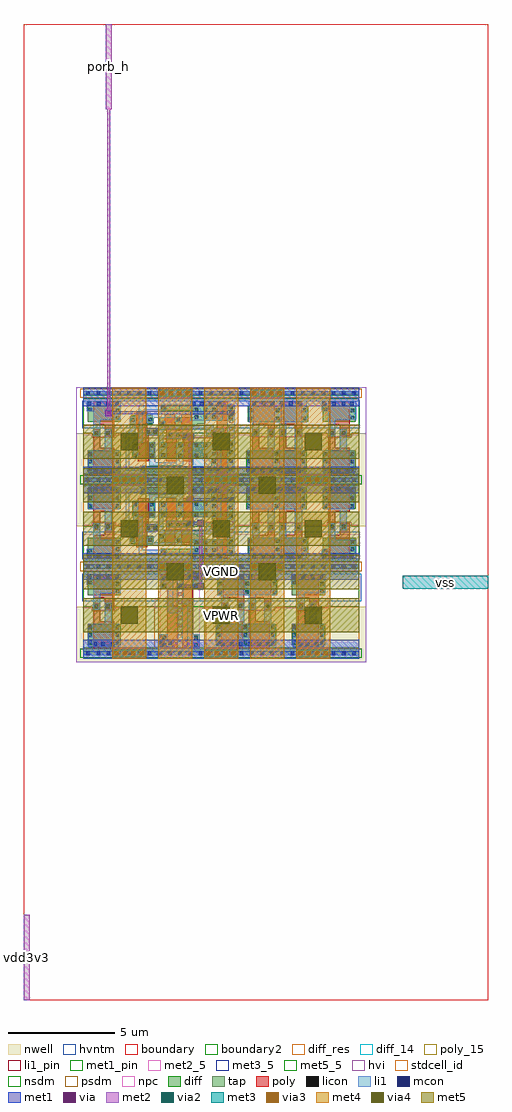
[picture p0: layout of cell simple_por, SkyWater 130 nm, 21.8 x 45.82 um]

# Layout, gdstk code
import gdstk
lib = gdstk.Library(unit=1e-6, precision=1e-09)
def R(c, l, rs):  # rectangles x0, y0, x1, y1
    for r in rs: c.add(gdstk.rectangle(r[:2], r[2:], *l))
def A(c, l, x, y, w, h, nx, ny, dx, dy):  # array of equal rectangles
    R(c, l, [(x+i*dx, y+j*dy, x+i*dx+w, y+j*dy+h) for i in range(nx) for j in range(ny)])
def P(c, l, *ps):  # polygons
    for p in ps: c.add(gdstk.Polygon(p, *l))
nwell = (64, 20)
diff_res = (65, 13)
diff_14 = (65, 14)
diff = (65, 20)
tap = (65, 44)
poly_15 = (66, 15)
poly = (66, 20)
licon = (66, 44)
li1_pin = (67, 16)
li1 = (67, 20)
mcon = (67, 44)
met1_pin = (68, 16)
met1 = (68, 20)
via = (68, 44)
met2_5 = (69, 5)
met2 = (69, 20)
via2 = (69, 44)
met3_5 = (70, 5)
met3 = (70, 20)
via3 = (70, 44)
met4 = (71, 20)
via4 = (71, 44)
met5_5 = (72, 5)
met5 = (72, 20)
hvi = (75, 20)
stdcell_id = (81, 4)
nsdm = (93, 44)
psdm = (94, 20)
npc = (95, 20)
hvntm = (125, 20)
boundary = (235, 4)
boundary2 = (236, 0)

sky130_fd_sc_hvl__decap_ = lib.new_cell('sky130_fd_sc_hvl__decap_4')
R(sky130_fd_sc_hvl__decap_, nwell, [(-0.33,1.885,2.25,4.485)])
R(sky130_fd_sc_hvl__decap_, diff, [(0.21,0.595,1.76,1.345), (0.21,2.705,1.76,3.705)])
R(sky130_fd_sc_hvl__decap_, tap, [(0,-0.085,1.92,0.085), (0,3.985,1.92,4.155)])
P(sky130_fd_sc_hvl__decap_, poly, [(1.475,3.835),(0.475,3.835),(0.475,1.7),(0.805,1.7),(0.805,2.575),(1.475,2.575)],
  [(1.475,2.03),(1.015,2.03),(1.015,1.475),(0.475,1.475),(0.475,0.405),(1.475,0.405)])
A(sky130_fd_sc_hvl__decap_, licon, 0.155, -0.085, 0.17, 0.17, 4, 2, 0.48, 4.07)
A(sky130_fd_sc_hvl__decap_, licon, 0.25, 2.765, 0.17, 0.17, 1, 3, 0, 0.355)
A(sky130_fd_sc_hvl__decap_, licon, 1.53, 2.765, 0.17, 0.17, 1, 3, 0, 0.355)
R(sky130_fd_sc_hvl__decap_, licon, [(0.25,0.675,0.42,0.845), (1.53,0.725,1.7,0.895), (1.53,1.08,1.7,1.25), (0.555,1.78,0.725,1.95), (1.095,1.78,1.265,1.95)])
R(sky130_fd_sc_hvl__decap_, li1, [(0,-0.085,1.92,0.085), (0,3.985,1.92,4.155)])
P(sky130_fd_sc_hvl__decap_, li1, [(1.7,3.755),(0.25,3.755),(0.25,2.685),(1.015,2.685),(1.015,1.7),(1.345,1.7),(1.345,2.685),(1.7,2.685)],
  [(1.78,1.25),(0.805,1.25),(0.805,2.03),(0.475,2.03),(0.475,0.845),(0.17,0.845),(0.17,0.365),(1.78,0.365)])
A(sky130_fd_sc_hvl__decap_, mcon, 0.155, -0.085, 0.17, 0.17, 4, 2, 0.48, 4.07)
A(sky130_fd_sc_hvl__decap_, mcon, 0.215, 0.395, 0.17, 0.17, 3, 1, 0.44, 0)
R(sky130_fd_sc_hvl__decap_, mcon, [(1.51,0.395,1.68,0.565), (0.495,3.56,0.665,3.73), (0.86,3.56,1.03,3.73), (1.3,3.56,1.47,3.73)])
R(sky130_fd_sc_hvl__decap_, met1_pin, [(0,0,1.92,0.115), (0,0,1.92,0.115), (0,0.255,1.92,0.625), (0,3.445,1.92,3.815), (0,3.955,1.92,4.07), (0,3.955,1.92,4.07)])
R(sky130_fd_sc_hvl__decap_, met1, [(0,-0.115,1.92,0.115), (0,0.255,1.92,0.625), (0,3.445,1.92,3.815), (0,3.955,1.92,4.185)])
R(sky130_fd_sc_hvl__decap_, hvi, [(-0.33,-0.265,2.25,4.485)])
R(sky130_fd_sc_hvl__decap_, stdcell_id, [(0,0,1.92,4.07)])
R(sky130_fd_sc_hvl__decap_, nsdm, [(-0.13,3.855,2.05,4.285)])
P(sky130_fd_sc_hvl__decap_, nsdm, [(1.92,1.885),(1.54,1.885),(1.54,2.07),(0.425,2.07),(0.425,1.885),(0,1.885),(0,0.215),(1.92,0.215)])
R(sky130_fd_sc_hvl__decap_, psdm, [(-0.13,-0.215,2.05,0.215)])
P(sky130_fd_sc_hvl__decap_, psdm, [(1.92,3.855),(0,3.855),(0,1.885),(0.425,1.885),(0.425,2.07),(1.54,2.07),(1.54,1.885),(1.92,1.885)])
P(sky130_fd_sc_hvl__decap_, npc, [(1.92,1.97),(1.54,1.97),(1.54,2.05),(0.425,2.05),(0.425,1.97),(0,1.97),(0,1.5),(1.92,1.5)])
R(sky130_fd_sc_hvl__decap_, hvntm, [(-0.035,0.35,1.955,1.64)])
R(sky130_fd_sc_hvl__decap_, boundary2, [(0,0,1.92,4.07)])
sky130_fd_sc_hvl__decap_.add(gdstk.Label('decap_4', (0,0), layer=83, texttype=44))
sky130_fd_sc_hvl__decap_.add(gdstk.Label('VNB', (0.96,0.058), layer=68, texttype=5))
sky130_fd_sc_hvl__decap_.add(gdstk.Label('VGND', (0.96,0.44), layer=68, texttype=5))
sky130_fd_sc_hvl__decap_.add(gdstk.Label('VNB', (0.96,0.058), layer=68, texttype=5))
sky130_fd_sc_hvl__decap_.add(gdstk.Label('VPWR', (0.96,3.63), layer=68, texttype=5))
sky130_fd_sc_hvl__decap_.add(gdstk.Label('VPB', (0.96,4.013), layer=68, texttype=5))
sky130_fd_sc_hvl__decap_.add(gdstk.Label('VPB', (0.96,4.013), layer=68, texttype=5))

c_sky130_fd_sc_hvl__decap_ = lib.new_cell('sky130_fd_sc_hvl__decap_8')
R(c_sky130_fd_sc_hvl__decap_, nwell, [(-0.33,1.885,4.17,4.485)])
R(c_sky130_fd_sc_hvl__decap_, diff, [(0.535,0.59,3.365,1.34), (0.46,2.7,3.3,3.7)])
R(c_sky130_fd_sc_hvl__decap_, tap, [(0,-0.085,3.84,0.085), (0,3.985,3.84,4.155)])
P(c_sky130_fd_sc_hvl__decap_, poly, [(3.08,2.025),(2.75,2.025),(2.75,1.47),(2.08,1.47),(2.08,0.4),(3.08,0.4)],
  [(3.015,3.83),(2.015,3.83),(2.015,1.695),(2.345,1.695),(2.345,2.57),(3.015,2.57)],
  [(1.735,3.83),(0.735,3.83),(0.735,1.695),(1.065,1.695),(1.065,2.57),(1.735,2.57)],
  [(1.8,2.025),(1.47,2.025),(1.47,1.47),(0.8,1.47),(0.8,0.4),(1.8,0.4)])
A(c_sky130_fd_sc_hvl__decap_, licon, 0.155, -0.085, 0.17, 0.17, 8, 2, 0.48, 4.07)
A(c_sky130_fd_sc_hvl__decap_, licon, 0.575, 0.72, 0.17, 0.17, 3, 2, 1.28, 0.39)
A(c_sky130_fd_sc_hvl__decap_, licon, 0.5, 2.76, 0.17, 0.17, 1, 3, 0, 0.355)
A(c_sky130_fd_sc_hvl__decap_, licon, 1.79, 2.76, 0.17, 0.17, 1, 3, 0, 0.355)
A(c_sky130_fd_sc_hvl__decap_, licon, 3.07, 2.76, 0.17, 0.17, 1, 3, 0, 0.355)
R(c_sky130_fd_sc_hvl__decap_, licon, [(0.815,1.775,0.985,1.945), (1.55,1.775,1.72,1.945), (2.095,1.775,2.265,1.945), (2.83,1.775,3,1.945)])
R(c_sky130_fd_sc_hvl__decap_, li1, [(0,-0.085,3.84,0.085), (0,3.985,3.84,4.155)])
P(c_sky130_fd_sc_hvl__decap_, li1, [(3.24,3.75),(0.5,3.75),(0.5,2.68),(1.47,2.68),(1.47,1.695),(1.8,1.695),(1.8,2.68),(2.75,2.68),(2.75,1.695),(3.08,1.695),(3.08,2.68),(3.24,2.68)],
  [(3.305,1.36),(2.345,1.36),(2.345,2.025),(2.015,2.025),(2.015,1.36),(1.065,1.36),(1.065,2.025),(0.735,2.025),(0.735,1.36),(0.575,1.36),(0.575,0.36),(3.305,0.36)])
A(c_sky130_fd_sc_hvl__decap_, mcon, 0.155, -0.085, 0.17, 0.17, 8, 2, 0.48, 4.07)
R(c_sky130_fd_sc_hvl__decap_, mcon, [(0.745,0.39,0.915,0.56), (1.185,0.39,1.355,0.56), (1.6,0.39,1.77,0.56), (2.025,0.39,2.195,0.56), (2.465,0.39,2.635,0.56), (2.88,0.39,3.05,0.56), (0.705,3.555,0.875,3.725), (1.145,3.555,1.315,3.725), (1.56,3.555,1.73,3.725), (1.985,3.555,2.155,3.725), (2.425,3.555,2.595,3.725), (2.84,3.555,3.01,3.725)])
R(c_sky130_fd_sc_hvl__decap_, met1_pin, [(0,0,3.84,0.115), (0,0,3.84,0.115), (0,0.255,3.84,0.625), (0,3.445,3.84,3.815), (0,3.955,3.84,4.07), (0,3.955,3.84,4.07)])
R(c_sky130_fd_sc_hvl__decap_, met1, [(0,-0.115,3.84,0.115), (0,0.255,3.84,0.625), (0,3.445,3.84,3.815), (0,3.955,3.84,4.185)])
R(c_sky130_fd_sc_hvl__decap_, hvi, [(-0.33,-0.265,4.17,4.485)])
R(c_sky130_fd_sc_hvl__decap_, stdcell_id, [(0,0,3.84,4.07)])
R(c_sky130_fd_sc_hvl__decap_, nsdm, [(-0.13,3.855,3.97,4.285)])
P(c_sky130_fd_sc_hvl__decap_, nsdm, [(3.84,1.885),(3.24,1.885),(3.24,2.055),(0.705,2.055),(0.705,1.885),(0,1.885),(0,0.215),(3.84,0.215)])
R(c_sky130_fd_sc_hvl__decap_, psdm, [(-0.13,-0.215,3.97,0.215)])
P(c_sky130_fd_sc_hvl__decap_, psdm, [(3.84,3.855),(0,3.855),(0,1.885),(0.705,1.885),(0.705,2.055),(3.24,2.055),(3.24,1.885),(3.84,1.885)])
P(c_sky130_fd_sc_hvl__decap_, npc, [(3.84,1.97),(3.2,1.97),(3.2,2.05),(0.615,2.05),(0.615,1.97),(0,1.97),(0,1.5),(3.84,1.5)])
R(c_sky130_fd_sc_hvl__decap_, hvntm, [(-0.035,0.35,3.875,1.64)])
R(c_sky130_fd_sc_hvl__decap_, boundary2, [(0,0,3.84,4.07)])
c_sky130_fd_sc_hvl__decap_.add(gdstk.Label('decap_8', (0,0), layer=83, texttype=44))
c_sky130_fd_sc_hvl__decap_.add(gdstk.Label('VNB', (1.92,0.058), layer=68, texttype=5))
c_sky130_fd_sc_hvl__decap_.add(gdstk.Label('VGND', (1.92,0.44), layer=68, texttype=5))
c_sky130_fd_sc_hvl__decap_.add(gdstk.Label('VNB', (1.92,0.058), layer=68, texttype=5))
c_sky130_fd_sc_hvl__decap_.add(gdstk.Label('VPWR', (1.92,3.63), layer=68, texttype=5))
c_sky130_fd_sc_hvl__decap_.add(gdstk.Label('VPB', (1.92,4.013), layer=68, texttype=5))
c_sky130_fd_sc_hvl__decap_.add(gdstk.Label('VPB', (1.92,4.013), layer=68, texttype=5))

sky130_fd_sc_hvl__fill_1 = lib.new_cell('sky130_fd_sc_hvl__fill_1')
R(sky130_fd_sc_hvl__fill_1, nwell, [(-0.33,1.885,0.81,4.485)])
R(sky130_fd_sc_hvl__fill_1, tap, [(0,-0.085,0.48,0.085), (0,3.985,0.48,4.155)])
R(sky130_fd_sc_hvl__fill_1, licon, [(0.155,-0.085,0.325,0.085), (0.155,3.985,0.325,4.155)])
R(sky130_fd_sc_hvl__fill_1, li1, [(0,-0.085,0.48,0.085), (0,3.985,0.48,4.155)])
R(sky130_fd_sc_hvl__fill_1, mcon, [(0.155,-0.085,0.325,0.085), (0.155,-0.085,0.325,0.085), (0.155,3.985,0.325,4.155), (0.155,3.985,0.325,4.155)])
R(sky130_fd_sc_hvl__fill_1, met1_pin, [(0,0,0.48,0.115), (0,0,0.48,0.115), (0,0.255,0.48,0.625), (0,3.445,0.48,3.815), (0,3.955,0.48,4.07), (0,3.955,0.48,4.07)])
R(sky130_fd_sc_hvl__fill_1, met1, [(0,-0.115,0.48,0.115), (0,0.255,0.48,0.625), (0,3.445,0.48,3.815), (0,3.955,0.48,4.185)])
R(sky130_fd_sc_hvl__fill_1, hvi, [(-0.33,-0.265,0.81,4.485)])
R(sky130_fd_sc_hvl__fill_1, stdcell_id, [(0,0,0.48,4.07)])
R(sky130_fd_sc_hvl__fill_1, nsdm, [(0,0.215,0.48,1.885), (-0.13,3.855,0.61,4.285), (0,3.855,0.48,4.07)])
R(sky130_fd_sc_hvl__fill_1, psdm, [(-0.13,-0.215,0.61,0.215), (0,1.885,0.48,3.855)])
R(sky130_fd_sc_hvl__fill_1, hvntm, [(-0.11,0.35,0.59,1.64)])
R(sky130_fd_sc_hvl__fill_1, boundary2, [(0,0,0.48,4.07)])
sky130_fd_sc_hvl__fill_1.add(gdstk.Label('fill_1', (0,0), layer=83, texttype=44))
sky130_fd_sc_hvl__fill_1.add(gdstk.Label('VNB', (0.24,0.058), layer=68, texttype=5))
sky130_fd_sc_hvl__fill_1.add(gdstk.Label('VNB', (0.24,0.058), layer=68, texttype=5))
sky130_fd_sc_hvl__fill_1.add(gdstk.Label('VPWR', (0.24,3.63), layer=68, texttype=5))
sky130_fd_sc_hvl__fill_1.add(gdstk.Label('VPB', (0.24,4.013), layer=68, texttype=5))
sky130_fd_sc_hvl__fill_1.add(gdstk.Label('VPB', (0.24,4.013), layer=68, texttype=5))
sky130_fd_sc_hvl__fill_1.add(gdstk.Label('VGND', (0.24,0.44), layer=68, texttype=5))

sky130_fd_sc_hvl__fill_2 = lib.new_cell('sky130_fd_sc_hvl__fill_2')
R(sky130_fd_sc_hvl__fill_2, nwell, [(-0.33,1.885,1.29,4.485)])
R(sky130_fd_sc_hvl__fill_2, tap, [(0,-0.085,0.96,0.085), (0,3.985,0.96,4.155)])
R(sky130_fd_sc_hvl__fill_2, licon, [(0.155,-0.085,0.325,0.085), (0.635,-0.085,0.805,0.085), (0.155,3.985,0.325,4.155), (0.635,3.985,0.805,4.155)])
R(sky130_fd_sc_hvl__fill_2, li1, [(0,-0.085,0.96,0.085), (0,3.985,0.96,4.155)])
R(sky130_fd_sc_hvl__fill_2, mcon, [(0.155,-0.085,0.325,0.085), (0.155,-0.085,0.325,0.085), (0.635,-0.085,0.805,0.085), (0.635,-0.085,0.805,0.085), (0.155,3.985,0.325,4.155), (0.155,3.985,0.325,4.155), (0.635,3.985,0.805,4.155), (0.635,3.985,0.805,4.155)])
R(sky130_fd_sc_hvl__fill_2, met1_pin, [(0,0,0.96,0.115), (0,0,0.96,0.115), (0,0.255,0.96,0.625), (0,3.445,0.96,3.815), (0,3.955,0.96,4.07), (0,3.955,0.96,4.07)])
R(sky130_fd_sc_hvl__fill_2, met1, [(0,-0.115,0.96,0.115), (0,0.255,0.96,0.625), (0,3.445,0.96,3.815), (0,3.955,0.96,4.185)])
R(sky130_fd_sc_hvl__fill_2, hvi, [(-0.33,-0.265,1.29,4.485)])
R(sky130_fd_sc_hvl__fill_2, stdcell_id, [(0,0,0.96,4.07)])
R(sky130_fd_sc_hvl__fill_2, nsdm, [(0,0.215,0.96,1.885), (-0.13,3.855,1.09,4.285), (0,3.855,0.96,4.07)])
R(sky130_fd_sc_hvl__fill_2, psdm, [(-0.13,-0.215,1.09,0.215), (0,1.885,0.96,3.855)])
R(sky130_fd_sc_hvl__fill_2, hvntm, [(-0.035,0.35,0.995,1.64)])
R(sky130_fd_sc_hvl__fill_2, boundary2, [(0,0,0.96,4.07)])
sky130_fd_sc_hvl__fill_2.add(gdstk.Label('fill_2', (0,0), layer=83, texttype=44))
sky130_fd_sc_hvl__fill_2.add(gdstk.Label('VGND', (0.48,0.44), layer=68, texttype=5))
sky130_fd_sc_hvl__fill_2.add(gdstk.Label('VNB', (0.48,0.058), layer=68, texttype=5))
sky130_fd_sc_hvl__fill_2.add(gdstk.Label('VNB', (0.48,0.058), layer=68, texttype=5))
sky130_fd_sc_hvl__fill_2.add(gdstk.Label('VPWR', (0.48,3.63), layer=68, texttype=5))
sky130_fd_sc_hvl__fill_2.add(gdstk.Label('VPB', (0.48,4.013), layer=68, texttype=5))
sky130_fd_sc_hvl__fill_2.add(gdstk.Label('VPB', (0.48,4.013), layer=68, texttype=5))

sky130_fd_sc_hvl__schmit = lib.new_cell('sky130_fd_sc_hvl__schmittbuf_1')
P(sky130_fd_sc_hvl__schmit, nwell, [(5.61,4.485),(-0.33,4.485),(-0.33,1.885),(1.34,1.885),(1.34,1.975),(3.885,1.975),(3.885,1.885),(5.61,1.885)])
R(sky130_fd_sc_hvl__schmit, diff_res, [(1.93,0.535,3.285,0.825), (0.99,3.425,4.1,3.715)])
R(sky130_fd_sc_hvl__schmit, diff_14, [(2.6,0.535,2.62,0.825), (2.54,3.425,2.56,3.715)])
R(sky130_fd_sc_hvl__schmit, diff, [(0.32,1.035,1.35,1.455), (0.39,2.315,1.42,3.065)])
P(sky130_fd_sc_hvl__schmit, diff, [(5.13,1.285),(3.81,1.285),(3.81,1.445),(3.445,1.445),(3.445,1.545),(1.65,1.545),(1.65,1.125),(3.285,1.125),(3.285,0.825),(1.72,0.825),(1.72,0.535),(5.13,0.535)],
  [(5.13,3.715),(0.78,3.715),(0.78,3.425),(4.1,3.425),(4.1,3.065),(1.72,3.065),(1.72,2.315),(4.115,2.315),(4.115,2.215),(5.13,2.215)])
R(sky130_fd_sc_hvl__schmit, tap, [(0,-0.085,5.28,0.085), (0,3.985,5.28,4.155)])
P(sky130_fd_sc_hvl__schmit, poly, [(4.865,3.845),(4.365,3.845),(4.365,2.055),(4.095,2.055),(4.095,1.725),(4.365,1.725),(4.365,0.385),(4.865,0.385)],
  [(3.265,3.195),(2.765,3.195),(2.765,2.14),(2.485,2.14),(2.485,3.195),(1.985,3.195),(1.985,1.73),(1.915,1.73),(1.915,0.995),(2.415,0.995),(2.415,1.725),(2.695,1.725),(2.695,0.995),(3.195,0.995),(3.195,2.085),(3.265,2.085)],
  [(1.635,1.985),(1.155,1.985),(1.155,3.195),(0.655,3.195),(0.655,1.595),(0.585,1.595),(0.585,0.905),(1.085,0.905),(1.085,1.645),(1.635,1.645)])
A(sky130_fd_sc_hvl__schmit, licon, 0.155, -0.085, 0.17, 0.17, 11, 2, 0.48, 4.07)
A(sky130_fd_sc_hvl__schmit, licon, 2.105, 1.855, 0.17, 0.17, 3, 1, 0.34, 0)
A(sky130_fd_sc_hvl__schmit, licon, 4.14, 2.745, 0.17, 0.17, 1, 3, 0, 0.37)
R(sky130_fd_sc_hvl__schmit, licon, [(1.76,0.595,1.93,0.765), (4.92,0.595,5.09,0.765), (3.325,0.695,3.495,0.865), (3.745,0.695,3.915,0.865), (4.14,0.695,4.31,0.865), (3.325,1.035,3.495,1.205), (3.745,1.035,3.915,1.205), (4.14,1.035,4.31,1.205), (4.92,1.055,5.09,1.225), (1.14,1.16,1.31,1.33), (2.47,1.165,2.64,1.335), (0.36,1.17,0.53,1.34), (1.69,1.315,1.86,1.485), (1.045,1.735,1.215,1.905), (1.385,1.735,1.555,1.905), (4.18,1.805,4.35,1.975), (4.52,1.805,4.69,1.975), (4.92,2.285,5.09,2.455), (3.32,2.355,3.49,2.525), (3.74,2.355,3.91,2.525), (4.14,2.355,4.31,2.525), (2.54,2.365,2.71,2.535), (0.43,2.375,0.6,2.545), (1.21,2.375,1.38,2.545), (1.76,2.375,1.93,2.545), (4.92,2.685,5.09,2.855), (1.76,2.815,1.93,2.985), (0.43,2.835,0.6,3.005), (1.21,2.835,1.38,3.005), (2.54,2.855,2.71,3.025), (3.32,2.855,3.49,3.025), (3.74,2.855,3.91,3.025), (4.92,3.09,5.09,3.26), (4.92,3.465,5.09,3.635), (0.82,3.485,0.99,3.655)])
A(sky130_fd_sc_hvl__schmit, li1_pin, 4.955, 0.84, 0.17, 0.17, 1, 7, 0, 0.37)
A(sky130_fd_sc_hvl__schmit, li1_pin, 2.075, 1.95, 0.17, 0.17, 3, 1, 0.48, 0)
R(sky130_fd_sc_hvl__schmit, li1, [(0,-0.085,5.28,0.085), (3.12,0.375,4.63,1.285), (4.86,0.515,5.195,3.715), (2.015,1.855,3.305,2.15), (0,3.985,5.28,4.155)])
P(sky130_fd_sc_hvl__schmit, li1, [(4.69,2.055),(3.855,2.055),(3.855,1.685),(1.835,1.685),(1.835,2.33),(2.01,2.33),(2.01,3.065),(1.655,3.065),(1.655,1.985),(1.045,1.985),(1.045,1.655),(1.6,1.655),(1.6,1.315),(1.94,1.315),(1.94,1.505),(4.21,1.505),(4.21,1.645),(4.69,1.645)],
  [(4.57,3.735),(3.13,3.735),(3.13,3.405),(3.235,3.405),(3.235,2.32),(4.57,2.32)],
  [(2.79,3.405),(1.2,3.405),(1.2,2.295),(1.46,2.295),(1.46,3.235),(2.46,3.235),(2.46,2.32),(2.79,2.32)],
  [(2.72,1.335),(2.39,1.335),(2.39,1.145),(1.39,1.145),(1.39,1.41),(1.06,1.41),(1.06,0.975),(2.72,0.975)],
  [(2.01,0.795),(0.875,0.795),(0.875,2.335),(0.68,2.335),(0.68,3.085),(0.43,3.085),(0.43,2.165),(0.705,2.165),(0.705,0.57),(2.01,0.57)],
  [(1.03,3.735),(0.74,3.735),(0.74,3.655),(0.085,3.655),(0.085,1.805),(0.28,1.805),(0.28,1.09),(0.53,1.09),(0.53,1.975),(0.255,1.975),(0.255,3.485),(0.74,3.485),(0.74,3.405),(1.03,3.405)])
A(sky130_fd_sc_hvl__schmit, mcon, 0.155, -0.085, 0.17, 0.17, 11, 2, 0.48, 4.07)
A(sky130_fd_sc_hvl__schmit, mcon, 3.225, 3.475, 0.17, 0.17, 4, 1, 0.36, 0)
R(sky130_fd_sc_hvl__schmit, mcon, [(3.21,0.425,3.38,0.595), (3.57,0.425,3.74,0.595), (3.98,0.425,4.15,0.595), (4.41,0.425,4.58,0.595)])
R(sky130_fd_sc_hvl__schmit, met1_pin, [(0,0,5.28,0.115), (0,0,5.28,0.115), (0,0.255,5.28,0.625), (0,3.445,5.28,3.815), (0,3.955,5.28,4.07), (0,3.955,5.28,4.07)])
R(sky130_fd_sc_hvl__schmit, met1, [(0,-0.115,5.28,0.115), (0,0.255,5.28,0.625), (0,3.445,5.28,3.815), (0,3.955,5.28,4.185)])
R(sky130_fd_sc_hvl__schmit, hvi, [(-0.33,-0.265,5.61,4.485)])
R(sky130_fd_sc_hvl__schmit, stdcell_id, [(0,0,5.28,4.07)])
R(sky130_fd_sc_hvl__schmit, nsdm, [(0,0.215,5.28,1.885), (-0.13,3.855,5.41,4.285)])
R(sky130_fd_sc_hvl__schmit, psdm, [(-0.13,-0.215,5.41,0.215)])
P(sky130_fd_sc_hvl__schmit, psdm, [(5.28,3.855),(0,3.855),(0,2.085),(1.765,2.085),(1.765,2.135),(3.205,2.135),(3.205,2.085),(4.8,2.085),(4.8,1.885),(5.28,1.885)])
P(sky130_fd_sc_hvl__schmit, npc, [(4.79,2.075),(3.195,2.075),(3.195,2.125),(1.575,2.125),(1.575,2.005),(0.945,2.005),(0.945,1.635),(4.79,1.635)])
P(sky130_fd_sc_hvl__schmit, hvntm, [(5.315,1.64),(4.035,1.64),(4.035,1.73),(1.485,1.73),(1.485,1.64),(-0.035,1.64),(-0.035,0.35),(5.315,0.35)])
R(sky130_fd_sc_hvl__schmit, boundary2, [(0,0,5.28,4.07)])
sky130_fd_sc_hvl__schmit.add(gdstk.Label('schmittbuf_1', (0,0), layer=83, texttype=44))
sky130_fd_sc_hvl__schmit.add(gdstk.Label('resistive_li1_ok', (0.605,3.59), layer=83, texttype=44))
sky130_fd_sc_hvl__schmit.add(gdstk.Label('resistive_li1_ok', (1.275,0.705), layer=83, texttype=44))
sky130_fd_sc_hvl__schmit.add(gdstk.Label('X', (5.04,0.925), layer=67, texttype=5))
sky130_fd_sc_hvl__schmit.add(gdstk.Label('X', (5.04,1.295), layer=67, texttype=5))
sky130_fd_sc_hvl__schmit.add(gdstk.Label('X', (5.04,1.665), layer=67, texttype=5))
sky130_fd_sc_hvl__schmit.add(gdstk.Label('X', (5.04,2.035), layer=67, texttype=5))
sky130_fd_sc_hvl__schmit.add(gdstk.Label('X', (5.04,2.405), layer=67, texttype=5))
sky130_fd_sc_hvl__schmit.add(gdstk.Label('X', (5.04,2.775), layer=67, texttype=5))
sky130_fd_sc_hvl__schmit.add(gdstk.Label('X', (5.04,3.145), layer=67, texttype=5))
sky130_fd_sc_hvl__schmit.add(gdstk.Label('A', (3.12,2.035), layer=67, texttype=5))
sky130_fd_sc_hvl__schmit.add(gdstk.Label('A', (2.16,2.035), layer=67, texttype=5))
sky130_fd_sc_hvl__schmit.add(gdstk.Label('A', (2.64,2.035), layer=67, texttype=5))
sky130_fd_sc_hvl__schmit.add(gdstk.Label('VPWR', (2.64,3.63), layer=68, texttype=5))
sky130_fd_sc_hvl__schmit.add(gdstk.Label('VNB', (2.64,0.058), layer=68, texttype=5))
sky130_fd_sc_hvl__schmit.add(gdstk.Label('VPB', (2.64,4.013), layer=68, texttype=5))
sky130_fd_sc_hvl__schmit.add(gdstk.Label('VPB', (2.64,4.013), layer=68, texttype=5))
sky130_fd_sc_hvl__schmit.add(gdstk.Label('VGND', (2.64,0.44), layer=68, texttype=5))
sky130_fd_sc_hvl__schmit.add(gdstk.Label('VNB', (2.64,0.058), layer=68, texttype=5))

sky130_fd_sc_hvl__conb_1 = lib.new_cell('sky130_fd_sc_hvl__conb_1')
R(sky130_fd_sc_hvl__conb_1, nwell, [(-0.33,1.885,2.73,4.485)])
R(sky130_fd_sc_hvl__conb_1, tap, [(0,-0.085,2.4,0.085), (0,3.985,2.4,4.155)])
R(sky130_fd_sc_hvl__conb_1, poly_15, [(0.585,1.82,1.095,1.865), (1.305,1.82,1.815,1.865)])
R(sky130_fd_sc_hvl__conb_1, poly, [(0.29,0.4,0.62,1.07), (0.585,0.4,1.095,3.845), (1.305,0.4,1.815,3.845), (1.78,0.4,2.11,1.07), (0.29,3.175,0.62,3.845), (1.78,3.175,2.11,3.845)])
A(sky130_fd_sc_hvl__conb_1, licon, 0.155, -0.085, 0.17, 0.17, 5, 2, 0.48, 4.07)
R(sky130_fd_sc_hvl__conb_1, licon, [(0.37,0.48,0.54,0.65), (1.86,0.48,2.03,0.65), (0.37,0.82,0.54,0.99), (1.86,0.82,2.03,0.99), (0.37,3.255,0.54,3.425), (1.86,3.255,2.03,3.425), (0.37,3.595,0.54,3.765), (1.86,3.595,2.03,3.765)])
A(sky130_fd_sc_hvl__conb_1, li1_pin, 1.115, 0.84, 0.17, 0.17, 1, 7, 0, 0.37)
R(sky130_fd_sc_hvl__conb_1, li1_pin, [(1.595,1.58,1.765,1.75), (1.595,1.95,1.765,2.12)])
R(sky130_fd_sc_hvl__conb_1, li1, [(0,-0.085,2.4,0.085), (0,3.985,2.4,4.155)])
P(sky130_fd_sc_hvl__conb_1, li1, [(2.185,1.07),(1.78,1.07),(1.78,0.625),(1.535,0.625),(1.535,0.285),(2.185,0.285)],
  [(1.325,3.53),(1.075,3.53),(1.075,2.185),(0.615,2.185),(0.615,1.07),(0.29,1.07),(0.29,0.43),(0.865,0.43),(0.865,1.935),(1.325,1.935)],
  [(2.11,3.815),(1.53,3.815),(1.53,1.765),(1.035,1.765),(1.035,0.5),(1.365,0.5),(1.365,1.5),(1.795,1.5),(1.795,3.175),(2.11,3.175)],
  [(0.215,3.175),(0.62,3.175),(0.62,3.445),(0.865,3.445),(0.865,3.785),(0.215,3.785)])
R(sky130_fd_sc_hvl__conb_1, mcon, [(0.155,-0.085,0.325,0.085), (0.155,-0.085,0.325,0.085), (0.635,-0.085,0.805,0.085), (0.635,-0.085,0.805,0.085), (1.115,-0.085,1.285,0.085), (1.115,-0.085,1.285,0.085), (1.595,-0.085,1.765,0.085), (1.595,-0.085,1.765,0.085), (2.075,-0.085,2.245,0.085), (2.075,-0.085,2.245,0.085), (1.595,0.395,1.765,0.565), (1.955,0.395,2.125,0.565), (0.275,3.505,0.445,3.675), (0.635,3.505,0.805,3.675), (0.155,3.985,0.325,4.155), (0.155,3.985,0.325,4.155), (0.635,3.985,0.805,4.155), (0.635,3.985,0.805,4.155), (1.115,3.985,1.285,4.155), (1.115,3.985,1.285,4.155), (1.595,3.985,1.765,4.155), (1.595,3.985,1.765,4.155), (2.075,3.985,2.245,4.155), (2.075,3.985,2.245,4.155)])
R(sky130_fd_sc_hvl__conb_1, met1_pin, [(0,0,2.4,0.115), (0,0.255,2.4,0.625), (0,3.445,2.4,3.815), (0,3.955,2.4,4.07)])
R(sky130_fd_sc_hvl__conb_1, met1, [(0,-0.115,2.4,0.115), (0,0.255,2.4,0.625), (0,3.445,2.4,3.815), (0,3.955,2.4,4.185)])
R(sky130_fd_sc_hvl__conb_1, hvi, [(-0.33,-0.265,2.73,4.485)])
R(sky130_fd_sc_hvl__conb_1, stdcell_id, [(0,0,2.4,4.07)])
R(sky130_fd_sc_hvl__conb_1, nsdm, [(0,0.215,2.4,1.885), (-0.13,3.855,2.53,4.285)])
R(sky130_fd_sc_hvl__conb_1, psdm, [(-0.13,-0.215,2.53,0.215)])
P(sky130_fd_sc_hvl__conb_1, npc, [(2.4,1.97),(2.13,1.97),(2.13,3.865),(0.27,3.865),(0.27,1.97),(0,1.97),(0,1.545),(0.27,1.545),(0.27,0.38),(2.13,0.38),(2.13,1.545),(2.4,1.545)])
R(sky130_fd_sc_hvl__conb_1, hvntm, [(-0.035,0.35,2.435,1.64)])
R(sky130_fd_sc_hvl__conb_1, boundary2, [(0,0,2.4,4.07)])
sky130_fd_sc_hvl__conb_1.add(gdstk.Label('conb_1', (0,0), layer=83, texttype=44))
sky130_fd_sc_hvl__conb_1.add(gdstk.Label('resistive_li1_ok', (0.695,1.355), layer=83, texttype=44))
sky130_fd_sc_hvl__conb_1.add(gdstk.Label('resistive_li1_ok', (1.69,2.73), layer=83, texttype=44))
sky130_fd_sc_hvl__conb_1.add(gdstk.Label('no_jumper_check', (1.56,1.9), layer=83, texttype=44))
sky130_fd_sc_hvl__conb_1.add(gdstk.Label('no_jumper_check', (0.84,1.9), layer=83, texttype=44))
sky130_fd_sc_hvl__conb_1.add(gdstk.Label('VGND', (1.2,0.44), layer=68, texttype=5))
sky130_fd_sc_hvl__conb_1.add(gdstk.Label('VNB', (1.2,0.058), layer=68, texttype=5))
sky130_fd_sc_hvl__conb_1.add(gdstk.Label('VPWR', (1.2,3.63), layer=68, texttype=5))
sky130_fd_sc_hvl__conb_1.add(gdstk.Label('VPB', (1.2,4.013), layer=68, texttype=5))
sky130_fd_sc_hvl__conb_1.add(gdstk.Label('LO', (1.68,1.665), layer=67, texttype=5))
sky130_fd_sc_hvl__conb_1.add(gdstk.Label('LO', (1.68,2.035), layer=67, texttype=5))
sky130_fd_sc_hvl__conb_1.add(gdstk.Label('HI', (1.2,2.035), layer=67, texttype=5))
sky130_fd_sc_hvl__conb_1.add(gdstk.Label('HI', (1.2,2.405), layer=67, texttype=5))
sky130_fd_sc_hvl__conb_1.add(gdstk.Label('LO', (1.2,1.295), layer=67, texttype=5))
sky130_fd_sc_hvl__conb_1.add(gdstk.Label('LO', (1.2,0.925), layer=67, texttype=5))
sky130_fd_sc_hvl__conb_1.add(gdstk.Label('HI', (1.2,2.775), layer=67, texttype=5))
sky130_fd_sc_hvl__conb_1.add(gdstk.Label('HI', (1.2,3.145), layer=67, texttype=5))
sky130_fd_sc_hvl__conb_1.add(gdstk.Label('LO', (1.2,1.665), layer=67, texttype=5))

simple_por = lib.new_cell('simple_por')
R(simple_por, li1, [(7.255,19.34,7.425,19.51), (7.735,22.3,7.905,22.47), (9.655,23.41,9.825,23.58), (7.735,26.37,7.905,26.54), (9.655,27.48,9.825,27.65)])
R(simple_por, mcon, [(7.255,19.34,7.425,19.51), (7.735,22.3,7.905,22.47), (9.655,23.41,9.825,23.58), (7.735,26.37,7.905,26.54), (9.655,27.48,9.825,27.65)])
A(simple_por, met1, 2.78, 16.025, 12.96, 0.51, 1, 4, 0, 4.07)
R(simple_por, met1, [(8.14,19.295,8.46,19.355), (7.195,19.31,7.485,19.355), (7.195,19.355,8.46,19.495), (7.195,19.495,7.485,19.54), (8.14,19.495,8.46,19.555), (8.14,22.255,8.46,22.315), (7.675,22.27,7.965,22.315), (7.675,22.315,8.46,22.455), (7.675,22.455,7.965,22.5), (8.14,22.455,8.46,22.515), (7.66,23.365,7.98,23.425), (9.595,23.38,9.885,23.425), (7.66,23.425,9.885,23.565), (7.66,23.565,7.98,23.625), (9.595,23.565,9.885,23.61), (7.66,26.325,7.98,26.385), (7.465,26.385,7.98,26.525), (7.66,26.525,7.98,26.585), (3.82,27.435,4.14,27.495), (9.595,27.45,9.885,27.495), (3.82,27.495,9.885,27.635), (3.82,27.635,4.14,27.695), (9.595,27.635,9.885,27.68)])
A(simple_por, via, 4.385, 16.205, 0.15, 0.15, 4, 2, 0.32, 8.14)
A(simple_por, via, 8.705, 16.205, 0.15, 0.15, 4, 2, 0.32, 8.14)
A(simple_por, via, 13.025, 16.205, 0.15, 0.15, 4, 2, 0.32, 8.14)
A(simple_por, via, 6.545, 20.275, 0.15, 0.15, 4, 2, 0.32, 8.14)
A(simple_por, via, 10.865, 20.275, 0.15, 0.15, 4, 2, 0.32, 8.14)
R(simple_por, via, [(8.225,19.35,8.375,19.5), (8.225,22.31,8.375,22.46), (7.745,23.42,7.895,23.57), (7.745,26.38,7.895,26.53), (3.905,27.49,4.055,27.64)])
R(simple_por, met2_5, [(0,0,0.28,4), (3.84,41.82,4.12,45.82)])
A(simple_por, met2, 4.2, 16.025, 1.48, 0.51, 3, 2, 4.32, 8.14)
R(simple_por, met2, [(0,0,0.28,4), (8.17,19.265,8.43,19.585), (8.23,19.585,8.37,22.225), (6.36,20.095,7.84,20.605), (10.68,20.095,12.16,20.605), (8.17,22.225,8.43,22.545), (7.69,23.335,7.95,23.655), (7.75,23.655,7.89,26.295), (7.69,26.295,7.95,26.615), (3.85,27.405,4.11,27.725), (3.91,27.725,4.05,41.82), (6.36,28.235,7.84,28.745), (10.68,28.235,12.16,28.745), (3.84,41.82,4.12,45.82)])
A(simple_por, via2, 4.24, 16.18, 0.2, 0.2, 4, 2, 0.4, 8.14)
A(simple_por, via2, 8.56, 16.18, 0.2, 0.2, 4, 2, 0.4, 8.14)
A(simple_por, via2, 12.88, 16.18, 0.2, 0.2, 4, 2, 0.4, 8.14)
A(simple_por, via2, 6.4, 20.25, 0.2, 0.2, 4, 2, 0.4, 8.14)
A(simple_por, via2, 10.72, 20.25, 0.2, 0.2, 4, 2, 0.4, 8.14)
R(simple_por, met3_5, [(17.8,19.31,21.8,19.91)])
A(simple_por, met3, 4.14, 16.115, 1.6, 0.33, 3, 2, 4.32, 8.14)
R(simple_por, met3, [(17.8,19.31,21.8,19.91), (6.3,20.185,7.9,20.515), (10.62,20.185,12.22,20.515), (6.3,28.325,7.9,28.655), (10.62,28.325,12.22,28.655)])
A(simple_por, via3, 4.24, 16.18, 0.2, 0.2, 4, 2, 0.4, 8.14)
A(simple_por, via3, 8.56, 16.18, 0.2, 0.2, 4, 2, 0.4, 8.14)
A(simple_por, via3, 12.88, 16.18, 0.2, 0.2, 4, 2, 0.4, 8.14)
A(simple_por, via3, 6.4, 20.25, 0.2, 0.2, 4, 2, 0.4, 8.14)
A(simple_por, via3, 10.72, 20.25, 0.2, 0.2, 4, 2, 0.4, 8.14)
A(simple_por, met4, 4.14, 16.025, 1.6, 12.72, 5, 1, 2.16, 0)
A(simple_por, via4, 4.54, 17.66, 0.8, 0.8, 3, 3, 4.32, 4.07)
R(simple_por, via4, [(6.7,19.695,7.5,20.495), (11.02,19.695,11.82,20.495), (6.7,23.765,7.5,24.565), (11.02,23.765,11.82,24.565)])
R(simple_por, met5_5, [(2.78,17.26,15.74,18.86), (2.78,19.295,15.74,20.895)])
A(simple_por, met5, 2.78, 17.26, 12.96, 1.6, 1, 5, 0, 2.035)
R(simple_por, boundary, [(0,0,21.8,45.82)])
simple_por.add(gdstk.Reference(sky130_fd_sc_hvl__decap_, (2.78,20.35)))
simple_por.add(gdstk.Reference(c_sky130_fd_sc_hvl__decap_, (8.54,20.35), x_reflection=True))
simple_por.add(gdstk.Reference(sky130_fd_sc_hvl__fill_1, (5.66,20.35), x_reflection=True))
simple_por.add(gdstk.Reference(sky130_fd_sc_hvl__fill_2, (4.7,20.35), x_reflection=True))
simple_por.add(gdstk.Reference(sky130_fd_sc_hvl__decap_, (2.78,20.35), x_reflection=True))
simple_por.add(gdstk.Reference(sky130_fd_sc_hvl__schmit, (4.7,20.35)))
simple_por.add(gdstk.Reference(sky130_fd_sc_hvl__conb_1, (6.14,20.35), x_reflection=True))
simple_por.add(gdstk.Reference(sky130_fd_sc_hvl__decap_, (13.82,20.35)))
simple_por.add(gdstk.Reference(c_sky130_fd_sc_hvl__decap_, (9.98,20.35)))
simple_por.add(gdstk.Reference(sky130_fd_sc_hvl__fill_2, (14.3,20.35), x_reflection=True))
simple_por.add(gdstk.Reference(sky130_fd_sc_hvl__decap_, (12.38,20.35), x_reflection=True))
simple_por.add(gdstk.Reference(sky130_fd_sc_hvl__fill_1, (15.26,20.35), x_reflection=True))
simple_por.add(gdstk.Reference(sky130_fd_sc_hvl__decap_, (2.78,28.49), x_reflection=True))
simple_por.add(gdstk.Reference(sky130_fd_sc_hvl__schmit, (4.7,28.49), x_reflection=True))
simple_por.add(gdstk.Reference(sky130_fd_sc_hvl__decap_, (13.82,28.49), x_reflection=True))
simple_por.add(gdstk.Reference(c_sky130_fd_sc_hvl__decap_, (9.98,28.49), x_reflection=True))
simple_por.add(gdstk.Label('porb_h', (3.98,43.82), layer=69, texttype=5))
simple_por.add(gdstk.Label('vdd3v3', (0.14,2), layer=69, texttype=5))
simple_por.add(gdstk.Label('vss', (19.8,19.61), layer=70, texttype=5))
simple_por.add(gdstk.Label('VPWR', (9.26,18.06), layer=72, texttype=5))
simple_por.add(gdstk.Label('VGND', (9.26,20.095), layer=72, texttype=5))

lib.write_gds('simple_por.gds')
